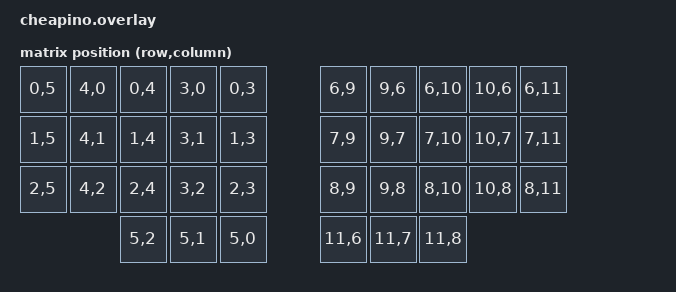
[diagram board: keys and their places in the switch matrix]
/*
 * Copyright (c) 2025 Allister MacLeod
 *
 * SPDX-License-Identifier: MIT
 */

// cheapino.overlay - DTS overlay for Cheapino keyboard.
// Although physically the Cheapino is a wired split, for the purposes
// of ZMK we will treat it as a unibody keyboard, since the matrix is
// fully wired across the 8p8c connector, needing no controller on the
// right side.

#include <dt-bindings/zmk/matrix_transform.h>
#include "cheapino-layout.dtsi"

&cheapino_layout {
    transform = <&default_transform>;
};

/ {
    chosen {
        zmk,kscan = &cheapino_scan;
        zmk,physical-layout = &cheapino_layout;
        transform = <&default_transform>;
    };

    default_transform: keymap_transform0 {
        compatible = "zmk,matrix-transform";
        columns = <12>;
        rows = <12>;
        map = <
            RC(0,5) RC(4,0) RC(0,4) RC(3,0) RC(0,3)    RC(6,9) RC(9,6) RC(6,10) RC(10,6) RC(6,11)
            RC(1,5) RC(4,1) RC(1,4) RC(3,1) RC(1,3)    RC(7,9) RC(9,7) RC(7,10) RC(10,7) RC(7,11)
            RC(2,5) RC(4,2) RC(2,4) RC(3,2) RC(2,3)    RC(8,9) RC(9,8) RC(8,10) RC(10,8) RC(8,11)
                            RC(5,2) RC(5,1) RC(5,0)    RC(11,6) RC(11,7) RC(11,8)
        >;
    };

    cheapino_scan: kscan0 {
        compatible = "zmk,kscan-gpio-charlieplex";
        wakeup-source;

// Cheapino Charlieplex cheat sheet:
// (###) = impossible
// (xxx) = unused because opposite hand
// (---) = unused in this keymap
//     0   1   2   3   4   5   6   7   8   9  10  11
// 0  ### --- --- LT0 LT2 LT4 xxx xxx xxx xxx xxx xxx
// 1  --- ### --- LM0 LM2 LM4 xxx xxx xxx xxx xxx xxx
// 2  --- --- ### LB0 LB2 LB4 xxx xxx xxx xxx xxx xxx
// 3  LT1 LM1 LB1 ### --- --- xxx xxx xxx xxx xxx xxx
// 4  LT3 LM3 LB3 --- ### --- xxx xxx xxx xxx xxx xxx
// 5  LH0 LH1 LH2 --- --- ### xxx xxx xxx xxx xxx xxx
// 6  xxx xxx xxx xxx xxx xxx ### --- --- RT0 RT2 RT4
// 7  xxx xxx xxx xxx xxx xxx --- ### --- RM0 RM2 RM4
// 8  xxx xxx xxx xxx xxx xxx --- --- ### RB0 RB2 RB4
// 9  xxx xxx xxx xxx xxx xxx RT1 RM1 RB1 ### --- ---
// 10 xxx xxx xxx xxx xxx xxx RT3 RM3 RB3 --- ### ---
// 11 xxx xxx xxx xxx xxx xxx RH0 RH1 RH2 --- --- ###

        gpios
            = <&zero_d 27 (GPIO_ACTIVE_HIGH | GPIO_PULL_DOWN)> //  0: Row1L
            , <&zero_d 28 (GPIO_ACTIVE_HIGH | GPIO_PULL_DOWN)> //  1: Row2L
            , <&zero_d 29 (GPIO_ACTIVE_HIGH | GPIO_PULL_DOWN)> //  2: Row3L
            , <&zero_d 14 (GPIO_ACTIVE_HIGH | GPIO_PULL_DOWN)> //  3: Col1L (columns 0 and 1)
            , <&zero_d 15 (GPIO_ACTIVE_HIGH | GPIO_PULL_DOWN)> //  4: Col2L (columns 2 and 3)
            , <&zero_d 26 (GPIO_ACTIVE_HIGH | GPIO_PULL_DOWN)> //  5: Col3L (column 4 and thumbs)

            , <&zero_d 3 (GPIO_ACTIVE_HIGH | GPIO_PULL_DOWN)>  //  6: Row1R
            , <&zero_d 1 (GPIO_ACTIVE_HIGH | GPIO_PULL_DOWN)>  //  7: Row2R
            , <&zero_d 2 (GPIO_ACTIVE_HIGH | GPIO_PULL_DOWN)>  //  8: Row3R
            , <&zero_d 6 (GPIO_ACTIVE_HIGH | GPIO_PULL_DOWN)>  //  9: Col1R (columns 0 and 1)
            , <&zero_d 5 (GPIO_ACTIVE_HIGH | GPIO_PULL_DOWN)>  // 10: Col2R (columns 2 and 3)
            , <&zero_d 4 (GPIO_ACTIVE_HIGH | GPIO_PULL_DOWN)>  // 11: Col3R (column 4 and thumbs)
            ;
    };
};
